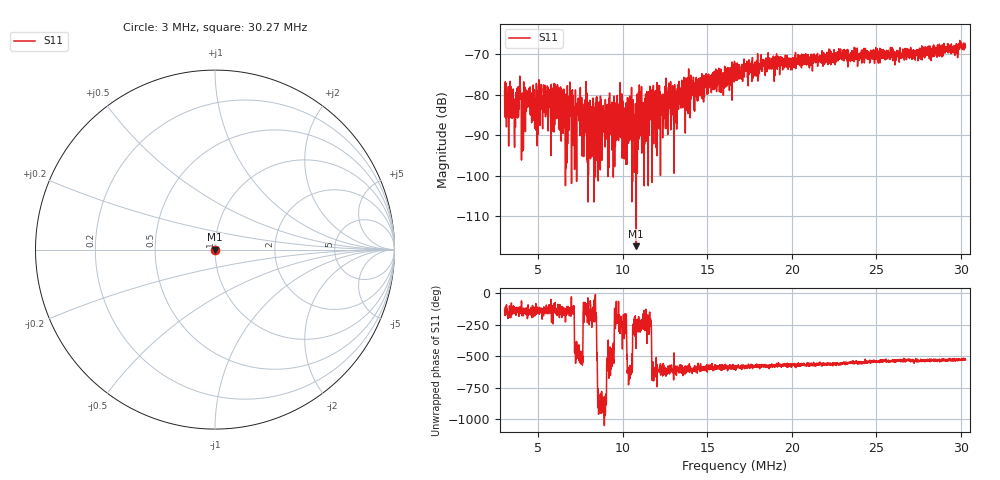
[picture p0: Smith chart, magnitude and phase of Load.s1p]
# HZ S RI R 50
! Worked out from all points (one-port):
!   2727 points, 3 MHz to 30.27 MHz, reference 50 ohm
!   lowest |S11| = -117.4 dB at 10.79 MHz (marker M1), VSWR 1.00, Z = 50 + j7.19e-05 ohm
!   |S11| at or under -10 dB: start of sweep to end of sweep
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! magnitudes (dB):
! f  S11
! 3 MHz  -79.0
! 3.52 MHz  -85.0
! 3.85 MHz  -79.7
! 6.411 MHz  -79.8
! 9.823 MHz  -90.2
! 10.79 MHz  -117.4
! 13.23 MHz  -81.5
! 14 MHz  -78.6
! 14.69 MHz  -77.9
! 15.58 MHz  -74.0
! 15.85 MHz  -75.7
! 16.28 MHz  -76.2
! 16.64 MHz  -76.4
! 17.06 MHz  -72.5
! 17.24 MHz  -72.7
! 17.95 MHz  -72.9
! 18.28 MHz  -72.2
! 20.05 MHz  -73.2
! 20.71 MHz  -72.0
! 22.35 MHz  -70.8
! 22.87 MHz  -69.9
! 23.46 MHz  -70.5
! 24.34 MHz  -69.5
! 26.87 MHz  -70.7
! 27.73 MHz  -70.0
! 28.45 MHz  -70.4
! 29.72 MHz  -68.0
! 30.27 MHz  -68.1
